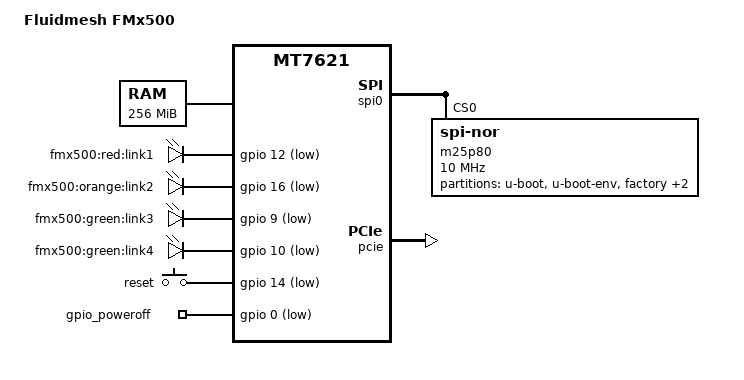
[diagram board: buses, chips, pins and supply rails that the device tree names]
/dts-v1/;

#include "mt7621.dtsi"

#include <dt-bindings/gpio/gpio.h>
#include <dt-bindings/input/input.h>

/ {
	compatible = "fluidmesh,fmx-500", "mediatek,mt7621-soc";
	model = "Fluidmesh FMx500";

	memory@0 {
		device_type = "memory";
		reg = <0x0 0x10000000>;
	};

	chosen {
		bootargs = "console=ttyS0,115200";
	};

	gpio-leds {
		compatible = "gpio-leds";
		link1 {
			label = "fmx500:red:link1";
			gpios = <&gpio 12 GPIO_ACTIVE_LOW>;
		};

		link2 {
			label = "fmx500:orange:link2";
			gpios = <&gpio 16 GPIO_ACTIVE_LOW>;
		};

		link3 {
			label = "fmx500:green:link3";
			gpios = <&gpio 9 GPIO_ACTIVE_LOW>;
		};

		link4 {
			label = "fmx500:green:link4";
			gpios = <&gpio 10 GPIO_ACTIVE_LOW>;
		};
	};

	gpio-keys-polled {
		compatible = "gpio-keys-polled";
		#address-cells = <1>;
		#size-cells = <0>;
		poll-interval = <20>;

		reset {
			label = "reset";
			gpios = <&gpio 14 GPIO_ACTIVE_LOW>;
			linux,code = <0x198>;
		};
	};

	gpio_poweroff {
		compatible = "gpio-poweroff";
		gpios = <&gpio 0 GPIO_ACTIVE_LOW>;
	};

	ethernet@1e100000 {
		mtd-mac-address = <&factory 0xe000>;
	};
};

&spi0 {
	status = "okay";

	m25p80@0 {
		compatible = "jedec,spi-nor";
		reg = <0>;
		spi-max-frequency = <10000000>;

		partitions {
			#address-cells = <1>;
			#size-cells = <1>;
			compatible = "fixed-partitions";

			partition@0 {
				label = "u-boot";
				reg = <0x0 0x30000>;
				read-only;
			};

			partition@30000 {
				label = "u-boot-env";
				reg = <0x30000 0x10000>;
				read-only;
			};

			factory: partition@40000 {
				label = "factory";
				reg = <0x40000 0x10000>;
				read-only;
			};

			partition@50000 {
				label = "firmware";
				reg = <0x50000 0xf90000>;
			};

			partition@fe0000 {
				label = "board_data";
				reg = <0xfe0000 0x20000>;
			};
		};
	};
};

&switch0 {
	ports {
		port@0 {
			status = "okay";
			label = "lan1";
		};

		port@1 {
			status = "okay";
			label = "lan2";
		};

		port@2 {
			status = "okay";
			label = "lan3";
		};

		port@3 {
			status = "okay";
			label = "lan4";
		};

		port@4 {
			status = "okay";
			label = "wan";
		};
	};
};

&pinctrl {
	state_default: pinctrl0 {
		gpio {
			ralink,group = "i2c", "uart2", "uart3", "rgmii2", "sdhci";
			ralink,function = "gpio";
		};
	};
};

&pcie {
	status = "okay";
};

&pcie0 {
	mt76@0,0 {
		reg = <0x0000 0 0 0 0>;
		mediatek,mtd-eeprom = <&factory 0x0000>;
		ieee80211-freq-limit = <5000000 6000000>;
	};
};
